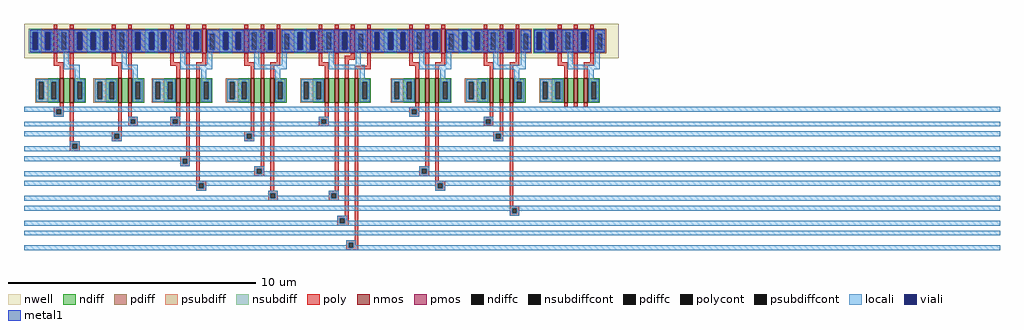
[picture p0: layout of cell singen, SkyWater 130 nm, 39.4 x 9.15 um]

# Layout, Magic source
magic
tech sky130A
magscale 1 2
<< nwell >>
rect 500 620 510 630
rect 970 620 980 630
rect 1560 620 1580 630
rect 2170 620 2180 630
rect 2890 620 2910 630
rect 3490 620 3510 630
rect 490 440 530 620
rect 960 440 1000 620
rect 1560 440 1600 620
rect 2160 440 2200 620
rect 2890 440 2930 620
rect 3490 440 3530 620
rect 500 430 510 440
rect 970 430 980 440
rect 1560 430 1580 440
rect 2170 430 2180 440
rect 2890 430 2910 440
rect 3490 430 3510 440
<< pdiff >>
rect 500 620 510 630
rect 970 620 980 630
rect 490 440 510 620
rect 960 440 980 620
rect 500 430 510 440
rect 970 430 980 440
rect 1560 430 1580 630
rect 2170 620 2180 630
rect 2160 440 2180 620
rect 2170 430 2180 440
rect 2890 430 2910 630
rect 3490 430 3510 630
<< nsubdiff >>
rect 510 440 530 620
rect 980 440 1000 620
rect 1580 440 1600 620
rect 2180 440 2200 620
rect 2910 440 2930 620
rect 3510 440 3530 620
<< poly >>
rect 240 -20 320 0
rect 240 -60 260 -20
rect 300 -60 320 -20
rect 240 -80 320 -60
rect 370 -280 400 0
rect 760 -200 790 0
rect 840 -80 870 0
rect 1230 -80 1260 10
rect 840 -100 920 -80
rect 840 -140 860 -100
rect 900 -140 920 -100
rect 840 -160 920 -140
rect 1180 -100 1260 -80
rect 1180 -140 1200 -100
rect 1240 -140 1260 -100
rect 1180 -160 1260 -140
rect 710 -220 790 -200
rect 710 -260 730 -220
rect 770 -260 790 -220
rect 710 -280 790 -260
rect 370 -300 450 -280
rect 370 -340 390 -300
rect 430 -340 450 -300
rect 370 -360 450 -340
rect 1310 -400 1340 0
rect 1260 -420 1340 -400
rect 1260 -460 1280 -420
rect 1320 -460 1340 -420
rect 1260 -480 1340 -460
rect 1390 -600 1420 0
rect 1830 -200 1860 10
rect 1780 -220 1860 -200
rect 1780 -260 1800 -220
rect 1840 -260 1860 -220
rect 1780 -280 1860 -260
rect 1910 -480 1940 0
rect 1860 -500 1940 -480
rect 1860 -540 1880 -500
rect 1920 -540 1940 -500
rect 1860 -560 1940 -540
rect 1390 -620 1470 -600
rect 1390 -660 1410 -620
rect 1450 -660 1470 -620
rect 1390 -680 1470 -660
rect 1990 -680 2020 0
rect 2430 -80 2460 0
rect 2380 -100 2460 -80
rect 2380 -140 2400 -100
rect 2440 -140 2460 -100
rect 2380 -160 2460 -140
rect 2510 -680 2540 0
rect 1970 -700 2050 -680
rect 1970 -740 1990 -700
rect 2030 -740 2050 -700
rect 1970 -760 2050 -740
rect 2460 -700 2540 -680
rect 2460 -740 2480 -700
rect 2520 -740 2540 -700
rect 2460 -760 2540 -740
rect 2590 -880 2620 0
rect 2530 -900 2620 -880
rect 2530 -940 2550 -900
rect 2590 -940 2620 -900
rect 2530 -960 2620 -940
rect 2670 -1080 2700 0
rect 3110 -20 3190 0
rect 3110 -60 3130 -20
rect 3170 -60 3190 -20
rect 3110 -80 3190 -60
rect 3240 -480 3270 30
rect 3190 -500 3270 -480
rect 3190 -540 3210 -500
rect 3250 -540 3270 -500
rect 3190 -560 3270 -540
rect 3320 -600 3350 0
rect 3760 -80 3790 0
rect 3710 -100 3790 -80
rect 3710 -140 3730 -100
rect 3770 -140 3790 -100
rect 3710 -150 3790 -140
rect 3840 -200 3870 60
rect 3790 -220 3870 -200
rect 3790 -260 3810 -220
rect 3850 -260 3870 -220
rect 3790 -280 3870 -260
rect 3320 -620 3400 -600
rect 3320 -660 3340 -620
rect 3380 -660 3400 -620
rect 3320 -680 3400 -660
rect 3920 -800 3950 0
rect 3920 -820 4000 -800
rect 3920 -860 3940 -820
rect 3980 -860 4000 -820
rect 3920 -880 4000 -860
rect 2600 -1100 2700 -1080
rect 2600 -1140 2620 -1100
rect 2660 -1140 2700 -1100
rect 2600 -1160 2700 -1140
<< polycont >>
rect 260 -60 300 -20
rect 860 -140 900 -100
rect 1200 -140 1240 -100
rect 730 -260 770 -220
rect 390 -340 430 -300
rect 1280 -460 1320 -420
rect 1800 -260 1840 -220
rect 1880 -540 1920 -500
rect 1410 -660 1450 -620
rect 2400 -140 2440 -100
rect 1990 -740 2030 -700
rect 2480 -740 2520 -700
rect 2550 -940 2590 -900
rect 3130 -60 3170 -20
rect 3210 -540 3250 -500
rect 3730 -140 3770 -100
rect 3810 -260 3850 -220
rect 3340 -660 3380 -620
rect 3940 -860 3980 -820
rect 2620 -1140 2660 -1100
<< locali >>
rect 490 440 530 620
rect 960 440 1000 620
rect 1560 440 1600 620
rect 2160 440 2200 620
rect 2890 440 2930 620
rect 3490 440 3530 620
rect 0 -20 7880 0
rect 0 -40 260 -20
rect 240 -60 260 -40
rect 300 -40 3130 -20
rect 300 -60 320 -40
rect 240 -80 320 -60
rect 3110 -60 3130 -40
rect 3170 -40 7880 -20
rect 3170 -60 3190 -40
rect 3110 -80 3190 -60
rect 840 -100 920 -80
rect 840 -120 860 -100
rect 0 -140 860 -120
rect 900 -120 920 -100
rect 1180 -100 1260 -80
rect 1180 -120 1200 -100
rect 900 -140 1200 -120
rect 1240 -120 1260 -100
rect 2380 -100 2460 -80
rect 2380 -120 2400 -100
rect 1240 -140 2400 -120
rect 2440 -120 2460 -100
rect 3710 -100 3790 -80
rect 3710 -120 3730 -100
rect 2440 -140 3730 -120
rect 3770 -120 3790 -100
rect 3770 -140 7880 -120
rect 0 -160 7880 -140
rect 0 -220 7880 -200
rect 0 -240 730 -220
rect 710 -260 730 -240
rect 770 -240 1800 -220
rect 770 -260 790 -240
rect 710 -280 790 -260
rect 1780 -260 1800 -240
rect 1840 -240 3810 -220
rect 1840 -260 1860 -240
rect 1780 -280 1860 -260
rect 3790 -260 3810 -240
rect 3850 -240 7880 -220
rect 3850 -260 3870 -240
rect 3790 -280 3870 -260
rect 370 -300 450 -280
rect 370 -320 390 -300
rect 0 -340 390 -320
rect 430 -320 450 -300
rect 430 -340 7880 -320
rect 0 -360 7880 -340
rect 0 -420 7880 -400
rect 0 -440 1280 -420
rect 1260 -460 1280 -440
rect 1320 -440 7880 -420
rect 1320 -460 1340 -440
rect 1260 -480 1340 -460
rect 1860 -500 1940 -480
rect 1860 -520 1880 -500
rect 0 -540 1880 -520
rect 1920 -520 1940 -500
rect 3190 -500 3270 -480
rect 3190 -520 3210 -500
rect 1920 -540 3210 -520
rect 3250 -520 3270 -500
rect 3250 -540 7880 -520
rect 0 -560 7880 -540
rect 0 -620 7880 -600
rect 0 -640 1410 -620
rect 1390 -660 1410 -640
rect 1450 -640 3340 -620
rect 1450 -660 1470 -640
rect 1390 -680 1470 -660
rect 3320 -660 3340 -640
rect 3380 -640 7880 -620
rect 3380 -660 3400 -640
rect 3320 -680 3400 -660
rect 1970 -700 2050 -680
rect 1970 -720 1990 -700
rect 0 -740 1990 -720
rect 2030 -720 2050 -700
rect 2460 -700 2540 -680
rect 2460 -720 2480 -700
rect 2030 -740 2480 -720
rect 2520 -720 2540 -700
rect 2520 -740 7880 -720
rect 0 -760 7880 -740
rect 0 -820 7880 -800
rect 0 -840 3940 -820
rect 3920 -860 3940 -840
rect 3980 -840 7880 -820
rect 3980 -860 4000 -840
rect 3920 -880 4000 -860
rect 2530 -900 2610 -880
rect 2530 -920 2550 -900
rect 0 -940 2550 -920
rect 2590 -920 2610 -900
rect 2590 -940 7880 -920
rect 0 -960 7880 -940
rect 0 -1040 7880 -1000
rect 2600 -1100 2680 -1080
rect 2600 -1120 2620 -1100
rect 0 -1140 2620 -1120
rect 2660 -1120 2680 -1100
rect 2660 -1140 7880 -1120
rect 0 -1160 7880 -1140
<< metal1 >>
rect 490 440 530 620
rect 960 440 1000 620
rect 1560 440 1600 620
rect 2160 440 2200 620
rect 2890 440 2930 620
rect 3490 440 3530 620
use nand2  nand2_0
transform 1 0 190 0 1 30
box -190 -30 350 640
use nand2  nand2_1
transform 1 0 660 0 1 30
box -190 -30 350 640
use nand3  nand3_0
transform 1 0 1130 0 1 30
box -190 -30 540 640
use nand3  nand3_1
transform 1 0 1730 0 1 30
box -190 -30 540 640
use nand3  nand3_2
transform 1 0 3060 0 1 30
box -190 -30 540 640
use nand3  nand3_3
transform 1 0 3660 0 1 30
box -190 -30 540 640
use nand3  nand3_4
transform 1 0 4260 0 1 30
box -190 -30 540 640
use nand4  nand4_0
transform 1 0 2330 0 1 30
box -190 -30 620 640
<< end >>

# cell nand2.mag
magic
tech sky130A
<< nwell >>
rect -95 180 175 320
<< nmos >>
rect 50 0 65 100
rect 90 0 105 100
<< pmos >>
rect 25 200 40 300
rect 90 200 105 300
<< ndiff >>
rect 0 85 50 100
rect 0 15 15 85
rect 35 15 50 85
rect 0 0 50 15
rect 65 0 90 100
rect 105 85 155 100
rect 105 15 120 85
rect 140 15 155 85
rect 105 0 155 15
<< pdiff >>
rect -25 285 25 300
rect -25 215 -10 285
rect 10 215 25 285
rect -25 200 25 215
rect 40 285 90 300
rect 40 215 55 285
rect 75 215 90 285
rect 40 200 90 215
rect 105 285 155 300
rect 105 215 120 285
rect 140 215 155 285
rect 105 200 155 215
<< ndiffc >>
rect 15 15 35 85
rect 120 15 140 85
<< pdiffc >>
rect -10 215 10 285
rect 55 215 75 285
rect 120 215 140 285
<< psubdiff >>
rect -50 85 0 100
rect -50 15 -35 85
rect -15 15 0 85
rect -50 0 0 15
<< nsubdiff >>
rect -75 285 -25 300
rect -75 215 -60 285
rect -40 215 -25 285
rect -75 200 -25 215
<< psubdiffcont >>
rect -35 15 -15 85
<< nsubdiffcont >>
rect -60 215 -40 285
<< poly >>
rect 25 300 40 315
rect 90 300 105 315
rect 25 165 40 200
rect 25 150 65 165
rect 50 100 65 150
rect 90 100 105 200
rect 50 -15 65 0
rect 90 -15 105 0
<< locali >>
rect -70 285 20 295
rect -70 215 -60 285
rect -40 215 -10 285
rect 10 215 20 285
rect -70 205 20 215
rect 45 285 85 295
rect 45 215 55 285
rect 75 215 85 285
rect 45 205 85 215
rect 110 285 150 295
rect 110 215 120 285
rect 140 215 150 285
rect 110 205 150 215
rect 65 155 85 205
rect 65 135 130 155
rect 110 95 130 135
rect -45 85 45 95
rect -45 15 -35 85
rect -15 15 15 85
rect 35 15 45 85
rect -45 5 45 15
rect 110 85 150 95
rect 110 15 120 85
rect 140 15 150 85
rect 110 5 150 15
<< viali >>
rect -60 215 -40 285
rect -10 215 10 285
rect 120 215 140 285
<< metal1 >>
rect -70 285 150 295
rect -70 215 -60 285
rect -40 215 -10 285
rect 10 215 120 285
rect 140 215 150 285
rect -70 205 150 215
<< labels >>
flabel poly 55 -15 55 -15 1 FreeSans 160 0 0 0 A
port 1 n
flabel poly 95 -15 95 -15 1 FreeSans 160 0 0 0 B
port 2 n
flabel locali 65 295 65 295 5 FreeSans 160 0 0 0 Y
port 3 s
flabel locali -45 50 -45 50 3 FreeSans 160 0 0 0 VN
port 5 e
flabel locali -70 250 -70 250 3 FreeSans 160 0 0 0 VP
port 4 e
<< end >>

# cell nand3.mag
magic
tech sky130A
<< nwell >>
rect -95 180 270 320
<< nmos >>
rect 50 0 65 100
rect 90 0 105 100
rect 130 0 145 100
<< pmos >>
rect 25 200 40 300
rect 90 200 105 300
rect 155 200 170 300
<< ndiff >>
rect 0 85 50 100
rect 0 15 15 85
rect 35 15 50 85
rect 0 0 50 15
rect 65 0 90 100
rect 105 0 130 100
rect 145 85 195 100
rect 145 15 160 85
rect 180 15 195 85
rect 145 0 195 15
<< pdiff >>
rect -25 285 25 300
rect -25 215 -10 285
rect 10 215 25 285
rect -25 200 25 215
rect 40 285 90 300
rect 40 215 55 285
rect 75 215 90 285
rect 40 200 90 215
rect 105 285 155 300
rect 105 215 120 285
rect 140 215 155 285
rect 105 200 155 215
rect 170 280 220 300
rect 170 215 185 280
rect 205 215 220 280
rect 170 200 220 215
<< ndiffc >>
rect 15 15 35 85
rect 160 15 180 85
<< pdiffc >>
rect -10 215 10 285
rect 55 215 75 285
rect 120 215 140 285
rect 185 215 205 280
<< psubdiff >>
rect -50 85 0 100
rect -50 15 -35 85
rect -15 15 0 85
rect -50 0 0 15
<< nsubdiff >>
rect -75 285 -25 300
rect -75 215 -60 285
rect -40 215 -25 285
rect -75 200 -25 215
<< psubdiffcont >>
rect -35 15 -15 85
<< nsubdiffcont >>
rect -60 215 -40 285
<< poly >>
rect 25 300 40 315
rect 90 300 105 315
rect 155 300 170 315
rect 25 165 40 200
rect 25 150 65 165
rect 50 100 65 150
rect 90 100 105 200
rect 155 165 170 200
rect 130 150 170 165
rect 130 100 145 150
rect 50 -15 65 0
rect 90 -15 105 0
rect 130 -15 145 0
<< locali >>
rect -70 285 20 295
rect -70 215 -60 285
rect -40 215 -10 285
rect 10 215 20 285
rect -70 205 20 215
rect 45 285 85 295
rect 45 215 55 285
rect 75 215 85 285
rect 45 205 85 215
rect 110 285 150 295
rect 110 215 120 285
rect 140 215 150 285
rect 110 205 150 215
rect 175 280 215 295
rect 175 215 185 280
rect 205 215 215 280
rect 175 205 215 215
rect 65 155 85 205
rect 175 155 195 205
rect 65 135 195 155
rect 150 95 170 135
rect -45 85 45 95
rect -45 15 -35 85
rect -15 15 15 85
rect 35 15 45 85
rect -45 5 45 15
rect 150 85 190 95
rect 150 15 160 85
rect 180 15 190 85
rect 150 5 190 15
<< viali >>
rect -60 215 -40 285
rect -10 215 10 285
rect 120 215 140 285
<< metal1 >>
rect -70 285 150 295
rect -70 215 -60 285
rect -40 215 -10 285
rect 10 215 120 285
rect 140 215 150 285
rect -70 205 150 215
rect 175 205 215 295
<< labels >>
flabel poly 55 -15 55 -15 1 FreeSans 160 0 0 0 A
port 1 n
flabel poly 95 -15 95 -15 1 FreeSans 160 0 0 0 B
port 2 n
flabel locali 65 295 65 295 5 FreeSans 160 0 0 0 Y
port 3 s
flabel locali -45 50 -45 50 3 FreeSans 160 0 0 0 VN
port 5 e
flabel locali -70 250 -70 250 3 FreeSans 160 0 0 0 VP
port 4 e
flabel poly 135 -15 135 -15 1 FreeSans 160 0 0 0 C
port 6 n
<< end >>

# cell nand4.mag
magic
tech sky130A
<< nwell >>
rect -95 180 310 320
<< nmos >>
rect 50 0 65 100
rect 90 0 105 100
rect 130 0 145 100
rect 170 0 185 100
<< pmos >>
rect 25 200 40 300
rect 90 200 105 300
rect 155 200 170 300
rect 220 200 235 300
<< ndiff >>
rect 0 85 50 100
rect 0 15 15 85
rect 35 15 50 85
rect 0 0 50 15
rect 65 0 90 100
rect 105 0 130 100
rect 145 0 170 100
rect 185 85 235 100
rect 185 15 200 85
rect 220 15 235 85
rect 185 0 235 15
<< pdiff >>
rect -25 285 25 300
rect -25 215 -10 285
rect 10 215 25 285
rect -25 200 25 215
rect 40 285 90 300
rect 40 215 55 285
rect 75 215 90 285
rect 40 200 90 215
rect 105 285 155 300
rect 105 215 120 285
rect 140 215 155 285
rect 105 200 155 215
rect 170 280 220 300
rect 170 215 185 280
rect 205 215 220 280
rect 170 200 220 215
rect 235 285 285 300
rect 235 215 250 285
rect 270 215 285 285
rect 235 200 285 215
<< ndiffc >>
rect 15 15 35 85
rect 200 15 220 85
<< pdiffc >>
rect -10 215 10 285
rect 55 215 75 285
rect 120 215 140 285
rect 185 215 205 280
rect 250 215 270 285
<< psubdiff >>
rect -50 85 0 100
rect -50 15 -35 85
rect -15 15 0 85
rect -50 0 0 15
<< nsubdiff >>
rect -75 285 -25 300
rect -75 215 -60 285
rect -40 215 -25 285
rect -75 200 -25 215
<< psubdiffcont >>
rect -35 15 -15 85
<< nsubdiffcont >>
rect -60 215 -40 285
<< poly >>
rect 25 300 40 315
rect 90 300 105 315
rect 155 300 170 315
rect 220 300 235 315
rect 25 165 40 200
rect 25 150 65 165
rect 50 100 65 150
rect 90 100 105 200
rect 155 190 170 200
rect 130 175 170 190
rect 130 100 145 175
rect 220 150 235 200
rect 170 135 235 150
rect 170 100 185 135
rect 50 -15 65 0
rect 90 -15 105 0
rect 130 -15 145 0
rect 170 -15 185 0
<< locali >>
rect -70 285 20 295
rect -70 215 -60 285
rect -40 215 -10 285
rect 10 215 20 285
rect -70 205 20 215
rect 45 285 85 295
rect 45 215 55 285
rect 75 215 85 285
rect 45 205 85 215
rect 110 285 150 295
rect 110 215 120 285
rect 140 215 150 285
rect 110 205 150 215
rect 175 280 215 295
rect 175 215 185 280
rect 205 215 215 280
rect 175 205 215 215
rect 240 285 280 295
rect 240 215 250 285
rect 270 215 280 285
rect 240 205 280 215
rect 65 155 85 205
rect 175 155 195 205
rect 65 135 210 155
rect 190 95 210 135
rect -45 85 45 95
rect -45 15 -35 85
rect -15 15 15 85
rect 35 15 45 85
rect -45 5 45 15
rect 190 85 230 95
rect 190 15 200 85
rect 220 15 230 85
rect 190 5 230 15
<< viali >>
rect -60 215 -40 285
rect -10 215 10 285
rect 120 215 140 285
rect 250 215 270 285
<< metal1 >>
rect -70 285 280 295
rect -70 215 -60 285
rect -40 215 -10 285
rect 10 215 120 285
rect 140 215 250 285
rect 270 215 280 285
rect -70 205 280 215
<< labels >>
flabel poly 55 -15 55 -15 1 FreeSans 160 0 0 0 A
port 1 n
flabel poly 95 -15 95 -15 1 FreeSans 160 0 0 0 B
port 2 n
flabel locali 65 295 65 295 5 FreeSans 160 0 0 0 Y
port 3 s
flabel locali -45 50 -45 50 3 FreeSans 160 0 0 0 VN
port 5 e
flabel locali -70 250 -70 250 3 FreeSans 160 0 0 0 VP
port 4 e
flabel poly 135 -15 135 -15 1 FreeSans 160 0 0 0 C
port 6 n
flabel poly 175 -15 175 -15 1 FreeSans 160 0 0 0 D
port 7 n
<< end >>
